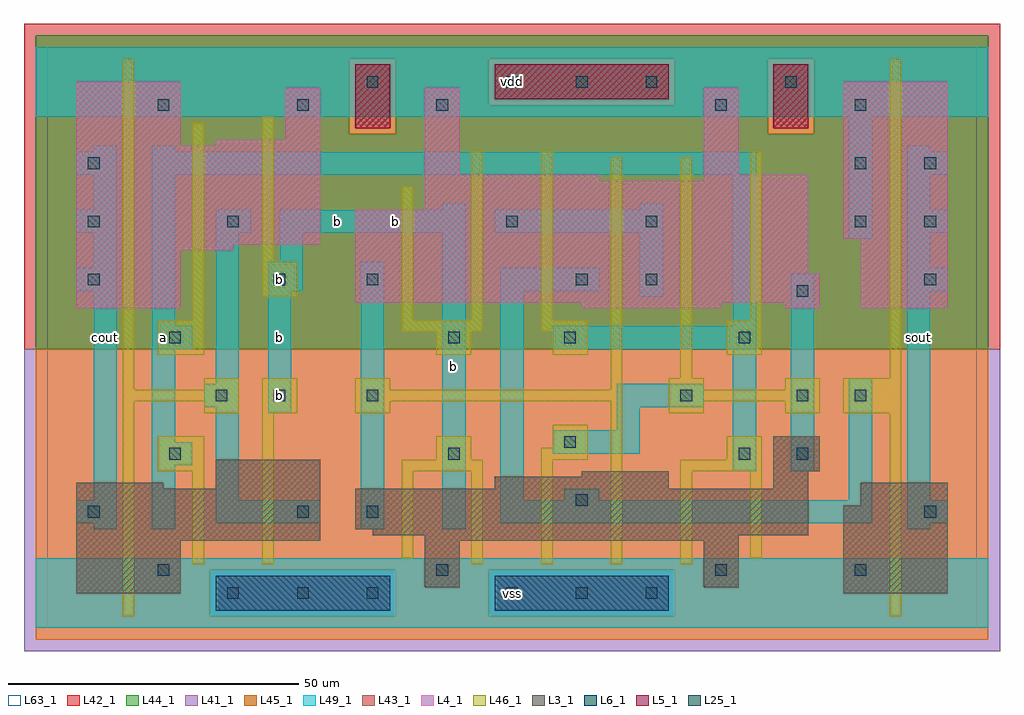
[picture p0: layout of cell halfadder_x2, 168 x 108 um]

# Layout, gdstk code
import gdstk
lib = gdstk.Library(unit=1e-6, precision=1e-09)
def R(c, l, rs):  # rectangles x0, y0, x1, y1
    for r in rs: c.add(gdstk.rectangle(r[:2], r[2:], *l))
def A(c, l, x, y, w, h, nx, ny, dx, dy):  # array of equal rectangles
    R(c, l, [(x+i*dx, y+j*dy, x+i*dx+w, y+j*dy+h) for i in range(nx) for j in range(ny)])
L3_1 = (3, 1)
L4_1 = (4, 1)
L5_1 = (5, 1)
L6_1 = (6, 1)
L25_1 = (25, 1)
L41_1 = (41, 1)
L42_1 = (42, 1)
L43_1 = (43, 1)
L44_1 = (44, 1)
L45_1 = (45, 1)
L46_1 = (46, 1)
L49_1 = (49, 1)
L63_1 = (63, 1)

halfadder_x2 = lib.new_cell('halfadder_x2')
R(halfadder_x2, L3_1, [(5,6,23,15), (137,6,155,21), (65,7,71,15), (113,7,119,15), (5,15,47,24), (65,15,119,16), (56,16,131,17), (53,17,131,24), (140,21,155,25), (5,24,20,25), (29,24,47,29), (77,24,107,26), (125,24,131,27), (92,26,107,27), (125,27,133,33)])
R(halfadder_x2, L4_1, [(5,55,23,65), (92,55,116,56), (127,55,133,56), (140,55,155,67), (53,56,133,61), (53,61,131,72), (5,65,32,66), (5,66,47,83), (137,67,155,94), (65,72,131,77), (65,77,95,78), (113,77,131,78), (65,78,71,93), (113,78,119,93), (5,83,23,94), (29,83,47,84), (41,84,47,93)])
R(halfadder_x2, L5_1, [(53,86,59,97), (125,86,131,97), (77,91,107,97)])
R(halfadder_x2, L6_1, [(29,3,59,9), (29,3,59,9), (77,3,107,9), (77,3,107,9)])
A(halfadder_x2, L25_1, 31, 5, 2, 2, 3, 1, 12, 0)
A(halfadder_x2, L25_1, 79, 5, 2, 2, 3, 2, 12, 88)
A(halfadder_x2, L25_1, 19, 9, 2, 2, 3, 1, 48, 0)
A(halfadder_x2, L25_1, 139, 9, 2, 2, 1, 3, 0, 30)
A(halfadder_x2, L25_1, 55, 19, 2, 2, 1, 3, 0, 20)
A(halfadder_x2, L25_1, 7, 59, 2, 2, 1, 3, 0, 10)
A(halfadder_x2, L25_1, 151, 59, 2, 2, 1, 3, 0, 10)
A(halfadder_x2, L25_1, 19, 89, 2, 2, 3, 1, 24, 0)
R(halfadder_x2, L25_1, [(7,19,9,21), (43,19,45,21), (151,19,153,21), (91,21,93,23), (21,29,23,31), (69,29,71,31), (119,29,121,31), (129,29,131,31), (89,31,91,33), (29,39,31,41), (39,39,41,41), (109,39,111,41), (129,39,131,41), (21,49,23,51), (69,49,71,51), (89,49,91,51), (119,49,121,51), (129,57,131,59), (39,59,41,61), (91,59,93,61), (103,59,105,61), (31,69,33,71), (79,69,81,71), (103,69,105,71), (139,79,141,81), (115,89,117,91), (139,89,141,91), (55,93,57,95), (127,93,129,95)])
R(halfadder_x2, L41_1, [(-4,-4,164,48)])
R(halfadder_x2, L42_1, [(-4,48,164,104)])
R(halfadder_x2, L43_1, [(29,3,59,9), (77,3,107,9), (5,6,23,15), (137,6,155,21), (65,7,71,15), (113,7,119,15), (5,15,47,24), (65,15,119,16), (56,16,131,17), (53,17,131,24), (140,21,155,25), (5,24,20,25), (29,24,47,29), (77,24,107,26), (125,24,131,27), (92,26,107,27), (125,27,133,33), (5,55,23,65), (92,55,116,56), (127,55,133,56), (140,55,155,67), (53,56,133,61), (53,61,131,72), (5,65,32,66), (5,66,47,83), (137,67,155,94), (65,72,131,77), (65,77,95,78), (113,77,131,78), (65,78,71,93), (113,78,119,93), (5,83,23,94), (29,83,47,84), (41,84,47,93), (53,86,59,97), (125,86,131,97), (77,91,107,97)])
R(halfadder_x2, L44_1, [(28,2,60,10), (76,2,108,10), (-2,48,162,85), (-2,85,52,98), (60,85,124,90), (132,85,162,98), (60,90,76,98), (108,90,124,98), (-2,98,162,102)])
R(halfadder_x2, L45_1, [(-2,-2,162,2), (-2,2,28,10), (60,2,76,10), (108,2,162,10), (-2,10,162,48), (52,85,60,98), (124,85,132,98), (76,90,108,98)])
R(halfadder_x2, L46_1, [(13,2,15,39), (145,2,147,37), (25,11,27,27), (37,11,39,37), (73,11,75,27), (85,11,87,29), (97,11,99,39), (109,11,111,27), (61,12,63,27), (121,12,123,27), (19,27,27,33), (61,27,75,29), (109,27,123,29), (67,29,73,33), (85,29,93,31), (117,29,123,33), (87,31,93,35), (27,37,33,39), (37,37,43,43), (53,37,59,39), (107,37,113,39), (127,37,133,39), (137,37,147,43), (13,39,33,41), (53,39,99,41), (107,39,133,41), (13,41,15,98), (27,41,33,43), (53,41,59,43), (97,41,99,81), (107,41,113,43), (127,41,133,43), (109,43,111,81), (145,43,147,98), (19,47,27,53), (67,47,73,51), (87,47,93,51), (117,47,123,53), (61,51,75,53), (85,51,93,53), (25,53,27,87), (61,53,63,76), (73,53,75,82), (85,53,87,82), (121,53,123,82), (37,57,43,63), (37,63,39,88)])
A(halfadder_x2, L49_1, 8, 22, 4, 36, 3, 1, 70, 0)
A(halfadder_x2, L49_1, 5, 58, 7, 4, 1, 3, 0, 10)
A(halfadder_x2, L49_1, 148, 58, 7, 4, 1, 3, 0, 10)
R(halfadder_x2, L49_1, [(-2,0,162,12), (8,17,12,18), (18,17,22,28), (54,17,58,63), (68,17,72,68), (148,17,152,18), (5,18,12,22), (29,18,47,22), (78,18,142,22), (148,18,155,22), (29,22,33,38), (89,22,95,24), (138,22,142,43), (118,27,122,48), (128,27,132,61), (18,28,25,32), (87,30,102,34), (18,32,22,48), (98,34,102,38), (38,37,42,58), (27,38,33,42), (98,38,113,42), (29,42,33,68), (18,48,25,52), (87,48,122,52), (18,52,22,78), (118,52,122,78), (102,57,106,68), (38,58,44,63), (78,58,95,62), (8,62,12,68), (148,62,152,68), (40,63,44,68), (138,67,142,88), (29,68,35,72), (40,68,72,72), (77,68,106,72), (8,72,12,78), (68,72,72,73), (102,72,106,73), (148,72,152,78), (18,78,122,82), (8,82,12,83), (18,82,22,83), (148,82,152,83), (-2,88,162,100)])
R(halfadder_x2, L63_1, [(0,0,160,100)])
halfadder_x2.add(gdstk.Label('a', (20,50), layer=49, texttype=1))
halfadder_x2.add(gdstk.Label('cout', (10,50), layer=49, texttype=1))
halfadder_x2.add(gdstk.Label('b', (40,40), layer=49, texttype=1))
halfadder_x2.add(gdstk.Label('b', (40,50), layer=49, texttype=1))
halfadder_x2.add(gdstk.Label('b', (40,60), layer=49, texttype=1))
halfadder_x2.add(gdstk.Label('b', (50,70), layer=49, texttype=1))
halfadder_x2.add(gdstk.Label('b', (60,70), layer=49, texttype=1))
halfadder_x2.add(gdstk.Label('vss', (80,6), layer=49, texttype=1))
halfadder_x2.add(gdstk.Label('b', (70,45), layer=49, texttype=1))
halfadder_x2.add(gdstk.Label('vdd', (80,94), layer=49, texttype=1))
halfadder_x2.add(gdstk.Label('sout', (150,50), layer=49, texttype=1))

lib.write_gds('halfadder_x2.gds')
